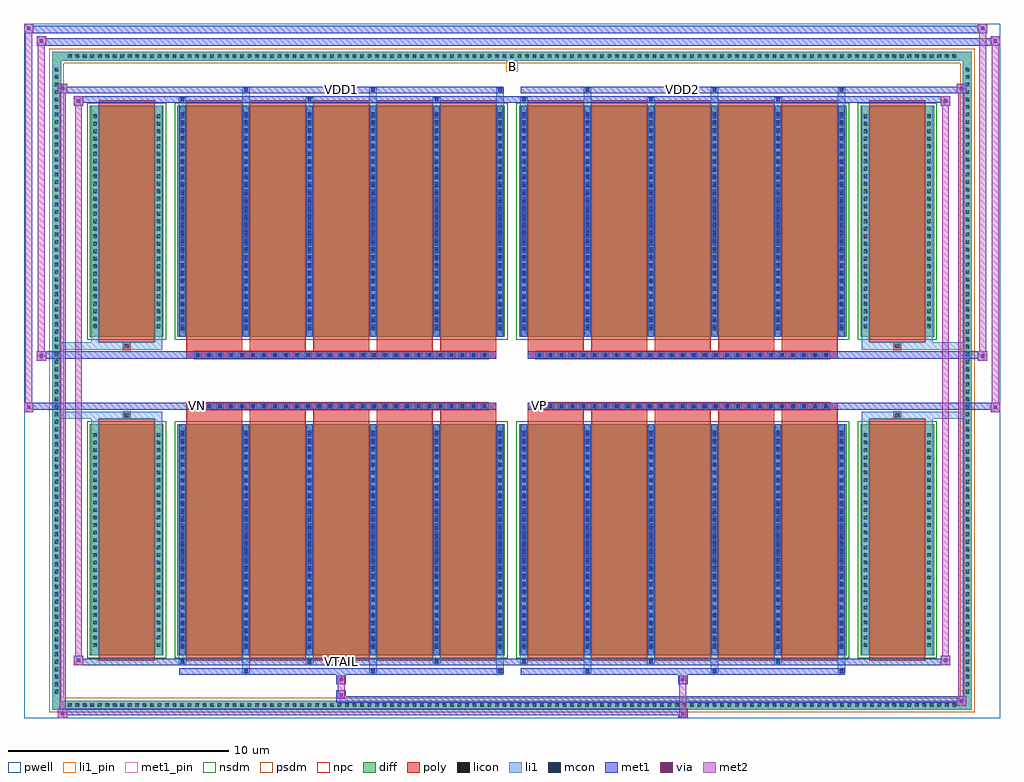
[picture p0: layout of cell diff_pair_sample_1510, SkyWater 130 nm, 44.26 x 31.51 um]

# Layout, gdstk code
import gdstk
lib = gdstk.Library(unit=1e-6, precision=5e-09)
def R(c, l, rs):  # rectangles x0, y0, x1, y1
    for r in rs: c.add(gdstk.rectangle(r[:2], r[2:], *l))
def A(c, l, x, y, w, h, nx, ny, dx, dy):  # array of equal rectangles
    R(c, l, [(x+i*dx, y+j*dy, x+i*dx+w, y+j*dy+h) for i in range(nx) for j in range(ny)])
def P(c, l, *ps):  # polygons
    for p in ps: c.add(gdstk.Polygon(p, *l))
pwell = (64, 44)
diff = (65, 20)
poly = (66, 20)
licon = (66, 44)
li1_pin = (67, 16)
li1 = (67, 20)
mcon = (67, 44)
met1_pin = (68, 16)
met1 = (68, 20)
via = (68, 44)
met2 = (69, 20)
nsdm = (93, 44)
psdm = (94, 20)
npc = (95, 20)

diff_pair_sample_1510 = lib.new_cell('diff_pair_sample_1510')
R(diff_pair_sample_1510, pwell, [(-22.13,-15.32,22.13,16.19), (-19.45,-13.51,-0.01,-0.795), (0.01,-13.51,19.45,-0.795), (-19.45,0.795,-0.01,13.51), (0.01,0.795,19.45,13.51)])
A(diff_pair_sample_1510, diff, -20.265, -14.92, 0.41, 0.41, 119, 2, 0.34, 29.43)
A(diff_pair_sample_1510, diff, -20.86, -14.315, 0.41, 0.41, 1, 84, 0, 0.34)
A(diff_pair_sample_1510, diff, 20.45, -14.315, 0.41, 0.41, 1, 84, 0, 0.34)
R(diff_pair_sample_1510, diff, [(-20.265,-14.92,20.265,-14.51), (-20.86,-14.315,-20.45,14.315), (20.45,-14.315,20.86,14.315), (-19.14,-12.465,-15.81,-1.985), (-15.17,-12.465,-0.32,-1.985), (0.32,-12.465,15.17,-1.985), (15.81,-12.465,19.14,-1.985), (-19.14,1.985,-15.81,12.465), (-15.17,1.985,-0.32,12.465), (0.32,1.985,15.17,12.465), (15.81,1.985,19.14,12.465), (-20.265,14.51,20.265,14.92)])
P(diff_pair_sample_1510, diff, [(20.86,14.92),(-20.86,14.92),(-20.86,-14.51),(-20.45,-14.51),(-20.45,14.51),(20.45,14.51),(20.45,-14.51),(-20.45,-14.51),(-20.86,-14.51),(-20.86,-14.92),(20.86,-14.92)])
A(diff_pair_sample_1510, poly, -14.78, -12.715, 2.55, 10.98, 5, 2, 2.88, 14.45)
A(diff_pair_sample_1510, poly, 0.71, -12.715, 2.55, 10.98, 5, 2, 2.88, 14.45)
A(diff_pair_sample_1510, poly, -14.78, -1.735, 2.55, 0.41, 5, 2, 2.88, 3.06)
A(diff_pair_sample_1510, poly, 0.71, -1.735, 2.55, 0.41, 5, 2, 2.88, 3.06)
A(diff_pair_sample_1510, poly, -14.41, -1.325, 0.33, 0.33, 27, 2, 0.5, 2.32)
A(diff_pair_sample_1510, poly, 1.08, -1.325, 0.33, 0.33, 27, 2, 0.5, 2.32)
R(diff_pair_sample_1510, poly, [(-18.75,-12.715,-16.2,-1.735), (16.2,-12.715,18.75,-1.735), (-17.64,-1.735,-17.31,-1.405), (-17.64,-1.735,-17.31,-1.405), (17.31,-1.735,17.64,-1.405), (17.31,-1.735,17.64,-1.405), (-14.78,-1.325,-0.71,-0.995), (0.71,-1.325,14.78,-0.995), (-14.78,0.995,-0.71,1.325), (0.71,0.995,14.78,1.325), (-17.64,1.405,-17.31,1.735), (-17.64,1.405,-17.31,1.735), (17.31,1.405,17.64,1.735), (17.31,1.405,17.64,1.735), (-18.75,1.735,-16.2,12.715), (16.2,1.735,18.75,12.715)])
A(diff_pair_sample_1510, licon, -20.145, -14.8, 0.17, 0.17, 119, 2, 0.34, 29.43)
A(diff_pair_sample_1510, licon, -20.74, -14.195, 0.17, 0.17, 1, 84, 0, 0.34)
A(diff_pair_sample_1510, licon, 20.57, -14.195, 0.17, 0.17, 1, 84, 0, 0.34)
A(diff_pair_sample_1510, licon, -19, -12.07, 0.17, 0.17, 1, 29, 0, 0.34)
A(diff_pair_sample_1510, licon, -16.12, -12.07, 0.17, 0.17, 1, 29, 0, 0.34)
A(diff_pair_sample_1510, licon, -15.03, -12.07, 0.17, 0.17, 6, 29, 2.88, 0.34)
A(diff_pair_sample_1510, licon, 0.46, -12.07, 0.17, 0.17, 6, 29, 2.88, 0.34)
A(diff_pair_sample_1510, licon, 15.95, -12.07, 0.17, 0.17, 1, 29, 0, 0.34)
A(diff_pair_sample_1510, licon, 18.83, -12.07, 0.17, 0.17, 1, 29, 0, 0.34)
A(diff_pair_sample_1510, licon, -14.33, -1.245, 0.17, 0.17, 27, 2, 0.5, 2.32)
A(diff_pair_sample_1510, licon, 1.16, -1.245, 0.17, 0.17, 27, 2, 0.5, 2.32)
A(diff_pair_sample_1510, licon, -19, 2.38, 0.17, 0.17, 1, 29, 0, 0.34)
A(diff_pair_sample_1510, licon, -16.12, 2.38, 0.17, 0.17, 1, 29, 0, 0.34)
A(diff_pair_sample_1510, licon, -15.03, 2.38, 0.17, 0.17, 6, 29, 2.88, 0.34)
A(diff_pair_sample_1510, licon, 0.46, 2.38, 0.17, 0.17, 6, 29, 2.88, 0.34)
A(diff_pair_sample_1510, licon, 15.95, 2.38, 0.17, 0.17, 1, 29, 0, 0.34)
A(diff_pair_sample_1510, licon, 18.83, 2.38, 0.17, 0.17, 1, 29, 0, 0.34)
R(diff_pair_sample_1510, licon, [(-17.56,-1.655,-17.39,-1.485), (17.39,-1.655,17.56,-1.485), (-17.56,1.485,-17.39,1.655), (17.39,1.485,17.56,1.655)])
R(diff_pair_sample_1510, li1_pin, [(-0.25,14.01,0.25,14.51)])
A(diff_pair_sample_1510, li1, -20.225, -14.88, 0.33, 0.33, 119, 2, 0.34, 29.43)
A(diff_pair_sample_1510, li1, -20.82, -14.275, 0.33, 0.33, 1, 84, 0, 0.34)
A(diff_pair_sample_1510, li1, 20.49, -14.275, 0.33, 0.33, 1, 84, 0, 0.34)
A(diff_pair_sample_1510, li1, -12.23, -13.27, 0.33, 0.805, 3, 2, 5.76, 25.735)
A(diff_pair_sample_1510, li1, -12.15, -13.27, 0.17, 0.17, 3, 2, 5.76, 26.37)
A(diff_pair_sample_1510, li1, 3.26, -13.27, 0.33, 0.805, 3, 2, 5.76, 25.735)
A(diff_pair_sample_1510, li1, 3.34, -13.27, 0.17, 0.17, 3, 2, 5.76, 26.37)
A(diff_pair_sample_1510, li1, -15.11, -12.84, 0.33, 0.375, 3, 2, 5.76, 25.305)
A(diff_pair_sample_1510, li1, -15.03, -12.84, 0.17, 0.17, 3, 2, 5.76, 25.51)
A(diff_pair_sample_1510, li1, 0.38, -12.84, 0.33, 0.375, 3, 2, 5.76, 25.305)
A(diff_pair_sample_1510, li1, 0.46, -12.84, 0.17, 0.17, 3, 2, 5.76, 25.51)
A(diff_pair_sample_1510, li1, -15.11, -12.465, 0.33, 10.48, 6, 2, 2.88, 14.45)
A(diff_pair_sample_1510, li1, 0.38, -12.465, 0.33, 10.48, 6, 2, 2.88, 14.45)
A(diff_pair_sample_1510, li1, -15.03, -12.17, 0.17, 0.17, 6, 28, 2.88, 0.36)
A(diff_pair_sample_1510, li1, -15.03, -12.17, 0.17, 9.89, 6, 2, 2.88, 14.45)
A(diff_pair_sample_1510, li1, 0.46, -12.17, 0.17, 0.17, 6, 28, 2.88, 0.36)
A(diff_pair_sample_1510, li1, 0.46, -12.17, 0.17, 9.89, 6, 2, 2.88, 14.45)
A(diff_pair_sample_1510, li1, -19.08, -12.15, 0.33, 0.33, 1, 29, 0, 0.34)
A(diff_pair_sample_1510, li1, -16.2, -12.15, 0.33, 0.33, 1, 29, 0, 0.34)
A(diff_pair_sample_1510, li1, -15.11, -12.15, 0.33, 0.33, 6, 29, 2.88, 0.34)
A(diff_pair_sample_1510, li1, 0.38, -12.15, 0.33, 0.33, 6, 29, 2.88, 0.34)
A(diff_pair_sample_1510, li1, 15.87, -12.15, 0.33, 0.33, 1, 29, 0, 0.34)
A(diff_pair_sample_1510, li1, 18.75, -12.15, 0.33, 0.33, 1, 29, 0, 0.34)
A(diff_pair_sample_1510, li1, -14.41, -1.325, 0.33, 0.33, 27, 2, 0.5, 2.32)
A(diff_pair_sample_1510, li1, 1.08, -1.325, 0.33, 0.33, 27, 2, 0.5, 2.32)
A(diff_pair_sample_1510, li1, -15.03, 2.28, 0.17, 0.17, 6, 28, 2.88, 0.36)
A(diff_pair_sample_1510, li1, 0.46, 2.28, 0.17, 0.17, 6, 28, 2.88, 0.36)
A(diff_pair_sample_1510, li1, -19.08, 2.3, 0.33, 0.33, 1, 29, 0, 0.34)
A(diff_pair_sample_1510, li1, -16.2, 2.3, 0.33, 0.33, 1, 29, 0, 0.34)
A(diff_pair_sample_1510, li1, -15.11, 2.3, 0.33, 0.33, 6, 29, 2.88, 0.34)
A(diff_pair_sample_1510, li1, 0.38, 2.3, 0.33, 0.33, 6, 29, 2.88, 0.34)
A(diff_pair_sample_1510, li1, 15.87, 2.3, 0.33, 0.33, 1, 29, 0, 0.34)
A(diff_pair_sample_1510, li1, 18.75, 2.3, 0.33, 0.33, 1, 29, 0, 0.34)
R(diff_pair_sample_1510, li1, [(-20.86,-14.92,-20.45,-14.51), (-20.86,-14.92,-20.45,-14.51), (-20.45,-14.92,20.45,-14.51), (20.45,-14.92,20.86,-14.51), (20.45,-14.92,20.86,-14.51), (-20.86,-14.51,-20.45,14.51), (20.45,-14.51,20.86,14.51), (-19.08,-12.465,-18.75,-1.985), (-16.2,-12.465,-15.87,-1.985), (15.87,-12.465,16.2,-1.985), (18.75,-12.465,19.08,-1.985), (-19.08,-1.985,-18.75,-1.405), (-16.2,-1.985,-15.87,-1.405), (15.87,-1.985,16.2,-1.405), (18.75,-1.985,19.08,-1.405), (-20.86,-1.735,-17.64,-1.405), (-19.08,-1.735,-17.64,-1.405), (-17.64,-1.735,-17.31,-1.405), (-17.31,-1.735,-15.87,-1.405), (15.87,-1.735,17.31,-1.405), (17.31,-1.735,17.64,-1.405), (17.31,-1.735,20.86,-1.405), (17.64,-1.735,19.08,-1.405), (-20.86,1.405,-17.64,1.735), (-19.08,1.405,-17.64,1.735), (-19.08,1.405,-18.75,1.985), (-17.64,1.405,-17.31,1.735), (-17.31,1.405,-15.87,1.735), (-16.2,1.405,-15.87,1.985), (15.87,1.405,17.31,1.735), (15.87,1.405,16.2,1.985), (17.31,1.405,17.64,1.735), (17.31,1.405,20.86,1.735), (17.64,1.405,19.08,1.735), (18.75,1.405,19.08,1.985), (-19.08,1.985,-18.75,12.465), (-16.2,1.985,-15.87,12.465), (15.87,1.985,16.2,12.465), (18.75,1.985,19.08,12.465), (-20.86,14.51,-20.45,14.92), (-20.86,14.51,-20.45,14.92), (-20.45,14.51,20.45,14.92), (20.45,14.51,20.86,14.92), (20.45,14.51,20.86,14.92)])
A(diff_pair_sample_1510, mcon, -12.15, -13.27, 0.17, 0.17, 3, 2, 5.76, 26.37)
A(diff_pair_sample_1510, mcon, 3.34, -13.27, 0.17, 0.17, 3, 2, 5.76, 26.37)
A(diff_pair_sample_1510, mcon, -15.03, -12.84, 0.17, 0.17, 3, 2, 5.76, 25.51)
A(diff_pair_sample_1510, mcon, 0.46, -12.84, 0.17, 0.17, 3, 2, 5.76, 25.51)
A(diff_pair_sample_1510, mcon, -15.03, -12.17, 0.17, 0.17, 6, 28, 2.88, 0.36)
A(diff_pair_sample_1510, mcon, 0.46, -12.17, 0.17, 0.17, 6, 28, 2.88, 0.36)
A(diff_pair_sample_1510, mcon, -14.33, -1.245, 0.17, 0.17, 27, 2, 0.5, 2.32)
A(diff_pair_sample_1510, mcon, 1.16, -1.245, 0.17, 0.17, 27, 2, 0.5, 2.32)
A(diff_pair_sample_1510, mcon, -15.03, 2.28, 0.17, 0.17, 6, 28, 2.88, 0.36)
A(diff_pair_sample_1510, mcon, 0.46, 2.28, 0.17, 0.17, 6, 28, 2.88, 0.36)
R(diff_pair_sample_1510, met1_pin, [(-7.88,-12.88,-7.61,-12.61), (-14.38,-1.285,-14.11,-1.015), (1.11,-1.285,1.38,-1.015), (-7.88,13.06,-7.61,13.33), (7.61,13.06,7.88,13.33)])
A(diff_pair_sample_1510, met1, -12.21, -13.33, 0.29, 0.29, 3, 2, 5.76, 26.37)
A(diff_pair_sample_1510, met1, 3.28, -13.33, 0.29, 0.29, 3, 2, 5.76, 26.37)
A(diff_pair_sample_1510, met1, -15.09, -12.9, 0.29, 0.29, 3, 2, 5.76, 25.51)
A(diff_pair_sample_1510, met1, 0.4, -12.9, 0.29, 0.29, 3, 2, 5.76, 25.51)
A(diff_pair_sample_1510, met1, -15.09, -12.465, 0.29, 10.48, 6, 2, 2.88, 14.45)
A(diff_pair_sample_1510, met1, 0.4, -12.465, 0.29, 10.48, 6, 2, 2.88, 14.45)
A(diff_pair_sample_1510, met1, -15.09, -12.23, 0.29, 0.29, 6, 28, 2.88, 0.36)
A(diff_pair_sample_1510, met1, 0.4, -12.23, 0.29, 0.29, 6, 28, 2.88, 0.36)
A(diff_pair_sample_1510, met1, -14.39, -1.305, 0.29, 0.29, 27, 2, 0.5, 2.32)
A(diff_pair_sample_1510, met1, 1.1, -1.305, 0.29, 0.29, 27, 2, 0.5, 2.32)
A(diff_pair_sample_1510, met1, -15.09, 2.22, 0.29, 0.29, 6, 28, 2.88, 0.36)
A(diff_pair_sample_1510, met1, 0.4, 2.22, 0.29, 0.29, 6, 28, 2.88, 0.36)
R(diff_pair_sample_1510, met1, [(-20.59,-15.32,-20.16,-14.89), (7.53,-15.32,7.96,-14.89), (-20.59,-15.18,7.96,-14.89), (20.16,-14.75,20.59,-14.32), (-7.96,-14.61,20.59,-14.32), (-7.96,-14.47,-7.53,-14.04), (-7.96,-13.76,-7.53,-13.33), (7.53,-13.76,7.96,-13.33), (-15.09,-13.33,-0.4,-13.04), (0.4,-13.33,15.09,-13.04), (-19.88,-12.9,-19.45,-12.47), (-19.88,-12.9,-15.09,-12.61), (-15.09,-12.9,-0.4,-12.61), (-0.4,-12.9,0.4,-12.61), (0.4,-12.9,15.09,-12.61), (15.09,-12.9,19.88,-12.61), (19.45,-12.9,19.88,-12.47), (-22.13,-1.425,-21.7,-0.995), (21.7,-1.425,22.13,-0.995), (-22.13,-1.325,-0.71,-0.995), (-14.78,-1.325,-0.71,-0.995), (0.71,-1.325,14.78,-0.995), (0.71,-1.325,22.13,-0.995), (-21.56,0.895,-21.13,1.325), (21.13,0.895,21.56,1.325), (-21.56,0.995,-14.78,1.325), (-14.78,0.995,-0.71,1.325), (0.71,0.995,14.78,1.325), (14.78,0.995,21.56,1.325), (-19.88,12.47,-19.45,12.9), (19.45,12.47,19.88,12.9), (-19.88,12.61,-15.09,12.9), (-15.09,12.61,-0.4,12.9), (-0.4,12.61,0.4,12.9), (0.4,12.61,15.09,12.9), (15.09,12.61,19.88,12.9), (-20.59,13.04,-20.16,13.47), (-20.59,13.04,-15.09,13.33), (-15.09,13.04,-0.4,13.33), (0.4,13.04,15.09,13.33), (15.09,13.04,20.59,13.33), (20.16,13.04,20.59,13.47), (-21.56,15.19,-21.13,15.62), (-21.56,15.19,-19.45,15.52), (-19.45,15.19,19.45,15.52), (19.45,15.19,22.13,15.52), (21.7,15.19,22.13,15.62), (-22.13,15.76,-21.7,16.19), (-22.13,15.76,-19.45,16.09), (-19.45,15.76,19.45,16.09), (19.45,15.76,21.56,16.09), (21.13,15.76,21.56,16.19)])
R(diff_pair_sample_1510, via, [(-20.45,-15.18,-20.3,-15.03), (7.67,-15.18,7.82,-15.03), (20.3,-14.61,20.45,-14.46), (-7.82,-14.33,-7.67,-14.18), (-7.82,-13.62,-7.67,-13.47), (7.67,-13.62,7.82,-13.47), (-19.74,-12.76,-19.59,-12.61), (19.59,-12.76,19.74,-12.61), (-21.99,-1.285,-21.84,-1.135), (21.84,-1.285,21.99,-1.135), (-21.42,1.035,-21.27,1.185), (21.27,1.035,21.42,1.185), (-19.74,12.61,-19.59,12.76), (19.59,12.61,19.74,12.76), (-20.45,13.18,-20.3,13.33), (20.3,13.18,20.45,13.33), (-21.42,15.33,-21.27,15.48), (21.84,15.33,21.99,15.48), (-21.99,15.9,-21.84,16.05), (21.27,15.9,21.42,16.05)])
R(diff_pair_sample_1510, met2, [(-20.59,-15.32,-20.16,-14.89), (-20.52,-15.32,-20.23,13.47), (-20.23,-15.32,-20.16,-14.89), (-20.54,-15.27,-20.21,-14.94), (7.58,-15.27,7.91,-14.94), (7.58,-14.94,7.91,-13.71), (20.16,-14.75,20.59,-14.32), (20.23,-14.75,20.52,13.47), (20.52,-14.75,20.59,-14.32), (20.21,-14.7,20.54,-14.37), (-7.91,-14.42,-7.58,-14.09), (-7.91,-14.09,-7.58,-13.71), (-7.91,-13.71,-7.58,-13.38), (7.58,-13.71,7.91,-13.38), (-19.88,-12.9,-19.45,-12.47), (-19.81,-12.9,-19.52,12.9), (-19.52,-12.9,-19.45,-12.47), (19.45,-12.9,19.88,-12.47), (19.52,-12.9,19.81,12.9), (19.81,-12.9,19.88,-12.47), (-19.83,-12.85,-19.5,-12.52), (19.5,-12.85,19.83,-12.52), (-22.13,-1.425,-21.7,-0.995), (-22.08,-1.425,-21.75,16.19), (-21.75,-1.425,-21.7,-0.995), (21.7,-1.425,22.13,-0.995), (21.75,-1.425,22.08,15.62), (22.08,-1.425,22.13,-0.995), (-22.08,-1.375,-21.75,-1.045), (21.75,-1.375,22.08,-1.045), (-21.56,0.895,-21.13,1.325), (-21.51,0.895,-21.18,15.62), (-21.18,0.895,-21.13,1.325), (21.13,0.895,21.56,1.325), (21.18,0.895,21.51,16.19), (21.51,0.895,21.56,1.325), (-21.51,0.945,-21.18,1.275), (21.18,0.945,21.51,1.275), (-19.88,12.47,-19.45,12.9), (-19.52,12.47,-19.45,12.9), (19.45,12.47,19.88,12.9), (19.81,12.47,19.88,12.9), (-19.83,12.52,-19.5,12.85), (19.5,12.52,19.83,12.85), (-20.59,13.04,-20.16,13.47), (-20.23,13.04,-20.16,13.47), (20.16,13.04,20.59,13.47), (20.52,13.04,20.59,13.47), (-20.54,13.09,-20.21,13.42), (20.21,13.09,20.54,13.42), (-21.56,15.19,-21.13,15.62), (-21.18,15.19,-21.13,15.62), (21.7,15.19,22.13,15.62), (22.08,15.19,22.13,15.62), (-21.51,15.24,-21.18,15.57), (21.75,15.24,22.08,15.57), (-22.13,15.76,-21.7,16.19), (-21.75,15.76,-21.7,16.19), (21.13,15.76,21.56,16.19), (21.51,15.76,21.56,16.19), (-22.08,15.81,-21.75,16.14), (21.18,15.81,21.51,16.14)])
R(diff_pair_sample_1510, nsdm, [(-19.27,-12.595,-15.68,-1.855), (-15.3,-12.595,-0.19,-1.855), (0.19,-12.595,15.3,-1.855), (15.68,-12.595,19.27,-1.855), (-19.27,1.855,-15.68,12.595), (-15.3,1.855,-0.19,12.595), (0.19,1.855,15.3,12.595), (15.68,1.855,19.27,12.595)])
P(diff_pair_sample_1510, psdm, [(20.99,15.05),(-20.99,15.05),(-20.99,-14.38),(-20.32,-14.38),(-20.32,14.38),(20.32,14.38),(20.32,-14.38),(-20.32,-14.38),(-20.99,-14.38),(-20.99,-15.05),(20.99,-15.05)])
A(diff_pair_sample_1510, npc, -14.43, -1.345, 0.37, 0.37, 27, 2, 0.5, 2.32)
A(diff_pair_sample_1510, npc, 1.06, -1.345, 0.37, 0.37, 27, 2, 0.5, 2.32)
R(diff_pair_sample_1510, npc, [(-17.66,-1.755,-17.29,-1.385), (17.29,-1.755,17.66,-1.385), (-14.43,-1.345,-13.56,-0.975), (-14.43,-1.345,-13.56,-0.975), (-13.93,-1.345,-13.06,-0.975), (-13.93,-1.345,-13.06,-0.975), (-13.43,-1.345,-12.56,-0.975), (-13.43,-1.345,-12.56,-0.975), (-12.93,-1.345,-12.06,-0.975), (-12.93,-1.345,-12.06,-0.975), (-12.43,-1.345,-11.56,-0.975), (-12.43,-1.345,-11.56,-0.975), (-11.93,-1.345,-11.06,-0.975), (-11.93,-1.345,-11.06,-0.975), (-11.43,-1.345,-10.56,-0.975), (-11.43,-1.345,-10.56,-0.975), (-10.93,-1.345,-10.06,-0.975), (-10.93,-1.345,-10.06,-0.975), (-10.43,-1.345,-9.56,-0.975), (-10.43,-1.345,-9.56,-0.975), (-9.93,-1.345,-9.06,-0.975), (-9.93,-1.345,-9.06,-0.975), (-9.43,-1.345,-8.56,-0.975), (-9.43,-1.345,-8.56,-0.975), (-8.93,-1.345,-8.06,-0.975), (-8.93,-1.345,-8.06,-0.975), (-8.43,-1.345,-7.56,-0.975), (-8.43,-1.345,-7.56,-0.975), (-7.93,-1.345,-7.06,-0.975), (-7.93,-1.345,-7.06,-0.975), (-7.43,-1.345,-6.56,-0.975), (-7.43,-1.345,-6.56,-0.975), (-6.93,-1.345,-6.06,-0.975), (-6.93,-1.345,-6.06,-0.975), (-6.43,-1.345,-5.56,-0.975), (-6.43,-1.345,-5.56,-0.975), (-5.93,-1.345,-5.06,-0.975), (-5.93,-1.345,-5.06,-0.975), (-5.43,-1.345,-4.56,-0.975), (-5.43,-1.345,-4.56,-0.975), (-4.93,-1.345,-4.06,-0.975), (-4.93,-1.345,-4.06,-0.975), (-4.43,-1.345,-3.56,-0.975), (-4.43,-1.345,-3.56,-0.975), (-3.93,-1.345,-3.06,-0.975), (-3.93,-1.345,-3.06,-0.975), (-3.43,-1.345,-2.56,-0.975), (-3.43,-1.345,-2.56,-0.975), (-2.93,-1.345,-2.06,-0.975), (-2.93,-1.345,-2.06,-0.975), (-2.43,-1.345,-1.56,-0.975), (-2.43,-1.345,-1.56,-0.975), (-1.93,-1.345,-1.06,-0.975), (-1.93,-1.345,-1.06,-0.975), (1.06,-1.345,1.93,-0.975), (1.06,-1.345,1.93,-0.975), (1.56,-1.345,2.43,-0.975), (1.56,-1.345,2.43,-0.975), (2.06,-1.345,2.93,-0.975), (2.06,-1.345,2.93,-0.975), (2.56,-1.345,3.43,-0.975), (2.56,-1.345,3.43,-0.975), (3.06,-1.345,3.93,-0.975), (3.06,-1.345,3.93,-0.975), (3.56,-1.345,4.43,-0.975), (3.56,-1.345,4.43,-0.975), (4.06,-1.345,4.93,-0.975), (4.06,-1.345,4.93,-0.975), (4.56,-1.345,5.43,-0.975), (4.56,-1.345,5.43,-0.975), (5.06,-1.345,5.93,-0.975), (5.06,-1.345,5.93,-0.975), (5.56,-1.345,6.43,-0.975), (5.56,-1.345,6.43,-0.975), (6.06,-1.345,6.93,-0.975), (6.06,-1.345,6.93,-0.975), (6.56,-1.345,7.43,-0.975), (6.56,-1.345,7.43,-0.975), (7.06,-1.345,7.93,-0.975), (7.06,-1.345,7.93,-0.975), (7.56,-1.345,8.43,-0.975), (7.56,-1.345,8.43,-0.975), (8.06,-1.345,8.93,-0.975), (8.06,-1.345,8.93,-0.975), (8.56,-1.345,9.43,-0.975), (8.56,-1.345,9.43,-0.975), (9.06,-1.345,9.93,-0.975), (9.06,-1.345,9.93,-0.975), (9.56,-1.345,10.43,-0.975), (9.56,-1.345,10.43,-0.975), (10.06,-1.345,10.93,-0.975), (10.06,-1.345,10.93,-0.975), (10.56,-1.345,11.43,-0.975), (10.56,-1.345,11.43,-0.975), (11.06,-1.345,11.93,-0.975), (11.06,-1.345,11.93,-0.975), (11.56,-1.345,12.43,-0.975), (11.56,-1.345,12.43,-0.975), (12.06,-1.345,12.93,-0.975), (12.06,-1.345,12.93,-0.975), (12.56,-1.345,13.43,-0.975), (12.56,-1.345,13.43,-0.975), (13.06,-1.345,13.93,-0.975), (13.06,-1.345,13.93,-0.975), (13.56,-1.345,14.43,-0.975), (13.56,-1.345,14.43,-0.975), (-14.43,0.975,-13.56,1.345), (-14.43,0.975,-13.56,1.345), (-13.93,0.975,-13.06,1.345), (-13.93,0.975,-13.06,1.345), (-13.43,0.975,-12.56,1.345), (-13.43,0.975,-12.56,1.345), (-12.93,0.975,-12.06,1.345), (-12.93,0.975,-12.06,1.345), (-12.43,0.975,-11.56,1.345), (-12.43,0.975,-11.56,1.345), (-11.93,0.975,-11.06,1.345), (-11.93,0.975,-11.06,1.345), (-11.43,0.975,-10.56,1.345), (-11.43,0.975,-10.56,1.345), (-10.93,0.975,-10.06,1.345), (-10.93,0.975,-10.06,1.345), (-10.43,0.975,-9.56,1.345), (-10.43,0.975,-9.56,1.345), (-9.93,0.975,-9.06,1.345), (-9.93,0.975,-9.06,1.345), (-9.43,0.975,-8.56,1.345), (-9.43,0.975,-8.56,1.345), (-8.93,0.975,-8.06,1.345), (-8.93,0.975,-8.06,1.345), (-8.43,0.975,-7.56,1.345), (-8.43,0.975,-7.56,1.345), (-7.93,0.975,-7.06,1.345), (-7.93,0.975,-7.06,1.345), (-7.43,0.975,-6.56,1.345), (-7.43,0.975,-6.56,1.345), (-6.93,0.975,-6.06,1.345), (-6.93,0.975,-6.06,1.345), (-6.43,0.975,-5.56,1.345), (-6.43,0.975,-5.56,1.345), (-5.93,0.975,-5.06,1.345), (-5.93,0.975,-5.06,1.345), (-5.43,0.975,-4.56,1.345), (-5.43,0.975,-4.56,1.345), (-4.93,0.975,-4.06,1.345), (-4.93,0.975,-4.06,1.345), (-4.43,0.975,-3.56,1.345), (-4.43,0.975,-3.56,1.345), (-3.93,0.975,-3.06,1.345), (-3.93,0.975,-3.06,1.345), (-3.43,0.975,-2.56,1.345), (-3.43,0.975,-2.56,1.345), (-2.93,0.975,-2.06,1.345), (-2.93,0.975,-2.06,1.345), (-2.43,0.975,-1.56,1.345), (-2.43,0.975,-1.56,1.345), (-1.93,0.975,-1.06,1.345), (-1.93,0.975,-1.06,1.345), (1.06,0.975,1.93,1.345), (1.06,0.975,1.93,1.345), (1.56,0.975,2.43,1.345), (1.56,0.975,2.43,1.345), (2.06,0.975,2.93,1.345), (2.06,0.975,2.93,1.345), (2.56,0.975,3.43,1.345), (2.56,0.975,3.43,1.345), (3.06,0.975,3.93,1.345), (3.06,0.975,3.93,1.345), (3.56,0.975,4.43,1.345), (3.56,0.975,4.43,1.345), (4.06,0.975,4.93,1.345), (4.06,0.975,4.93,1.345), (4.56,0.975,5.43,1.345), (4.56,0.975,5.43,1.345), (5.06,0.975,5.93,1.345), (5.06,0.975,5.93,1.345), (5.56,0.975,6.43,1.345), (5.56,0.975,6.43,1.345), (6.06,0.975,6.93,1.345), (6.06,0.975,6.93,1.345), (6.56,0.975,7.43,1.345), (6.56,0.975,7.43,1.345), (7.06,0.975,7.93,1.345), (7.06,0.975,7.93,1.345), (7.56,0.975,8.43,1.345), (7.56,0.975,8.43,1.345), (8.06,0.975,8.93,1.345), (8.06,0.975,8.93,1.345), (8.56,0.975,9.43,1.345), (8.56,0.975,9.43,1.345), (9.06,0.975,9.93,1.345), (9.06,0.975,9.93,1.345), (9.56,0.975,10.43,1.345), (9.56,0.975,10.43,1.345), (10.06,0.975,10.93,1.345), (10.06,0.975,10.93,1.345), (10.56,0.975,11.43,1.345), (10.56,0.975,11.43,1.345), (11.06,0.975,11.93,1.345), (11.06,0.975,11.93,1.345), (11.56,0.975,12.43,1.345), (11.56,0.975,12.43,1.345), (12.06,0.975,12.93,1.345), (12.06,0.975,12.93,1.345), (12.56,0.975,13.43,1.345), (12.56,0.975,13.43,1.345), (13.06,0.975,13.93,1.345), (13.06,0.975,13.93,1.345), (13.56,0.975,14.43,1.345), (13.56,0.975,14.43,1.345), (-17.66,1.385,-17.29,1.755), (17.29,1.385,17.66,1.755)])
diff_pair_sample_1510.add(gdstk.Label('VTAIL', (-7.745,-12.745), layer=68, texttype=5))
diff_pair_sample_1510.add(gdstk.Label('VN', (-14.245,-1.15), layer=68, texttype=5))
diff_pair_sample_1510.add(gdstk.Label('VP', (1.245,-1.15), layer=68, texttype=5))
diff_pair_sample_1510.add(gdstk.Label('B', (0,14.26), layer=67, texttype=5))
diff_pair_sample_1510.add(gdstk.Label('VDD2', (7.745,13.195), layer=68, texttype=5))
diff_pair_sample_1510.add(gdstk.Label('VDD1', (-7.745,13.195), layer=68, texttype=5))

lib.write_gds('diff_pair_sample_1510.gds')
